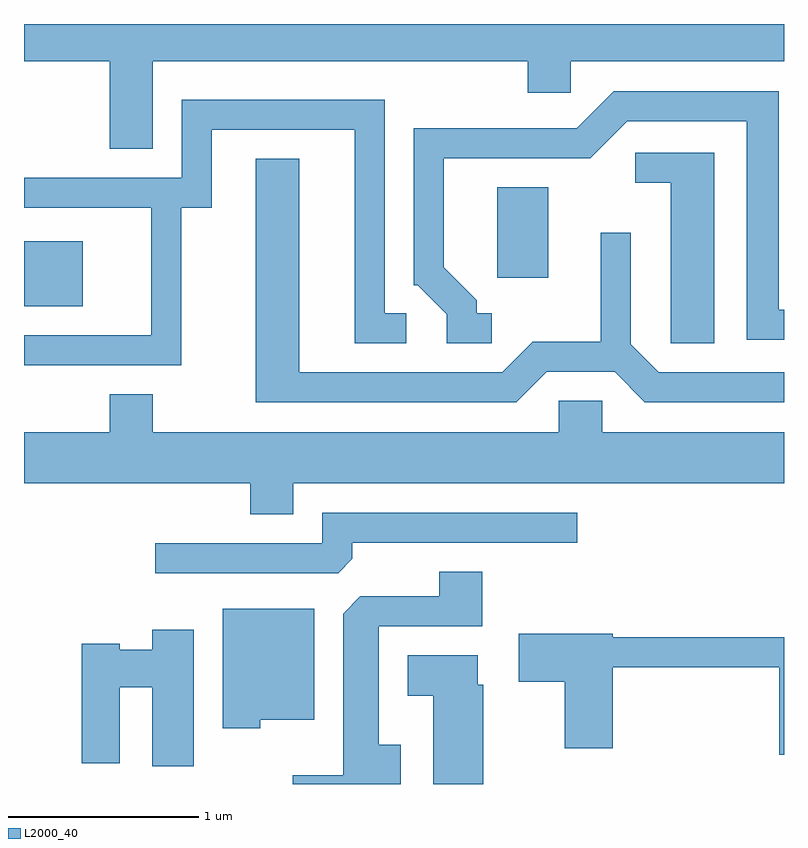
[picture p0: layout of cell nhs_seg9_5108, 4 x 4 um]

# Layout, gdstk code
import gdstk
lib = gdstk.Library(unit=1e-6, precision=1e-09)
def R(c, l, rs):  # rectangles x0, y0, x1, y1
    for r in rs: c.add(gdstk.rectangle(r[:2], r[2:], *l))
def P(c, l, *ps):  # polygons
    for p in ps: c.add(gdstk.Polygon(p, *l))
L2000_40 = (2000, 40)

nhs_seg9_5108 = lib.new_cell('nhs_seg9_5108')
R(nhs_seg9_5108, L2000_40, [(335.611,2014.946,335.919,2015.289), (338.101,2015.096,338.369,2015.574)])
P(nhs_seg9_5108, L2000_40, [(336.289,2016.236),(338.261,2016.236),(338.261,2016.071),(338.489,2016.071),(338.489,2016.236),(339.611,2016.236),(339.611,2016.432),(335.611,2016.432),(335.611,2016.236),(336.061,2016.236),(336.061,2015.776),(336.289,2015.776)],
  [(338.073,2014.909),(337.994,2014.909),(337.994,2014.977),(337.819,2015.152),(337.819,2015.726),(338.592,2015.726),(338.787,2015.921),(339.416,2015.921),(339.416,2014.771),(339.611,2014.771),(339.611,2014.929),(339.584,2014.929),(339.584,2016.079),(338.714,2016.079),(338.519,2015.884),(337.661,2015.884),(337.661,2015.056),(337.684,2015.056),(337.836,2014.904),(337.836,2014.751),(338.073,2014.751)],
  [(336.439,2015.466),(336.599,2015.466),(336.599,2015.876),(337.351,2015.876),(337.351,2014.751),(337.623,2014.751),(337.623,2014.909),(337.509,2014.909),(337.509,2016.034),(336.441,2016.034),(336.441,2015.624),(335.611,2015.624),(335.611,2015.466),(336.281,2015.466),(336.281,2014.794),(335.611,2014.794),(335.611,2014.636),(336.439,2014.636)],
  [(339.244,2015.754),(338.828,2015.754),(338.828,2015.596),(339.016,2015.596),(339.016,2014.751),(339.244,2014.751)],
  [(338.362,2014.601),(338.719,2014.601),(338.879,2014.441),(339.611,2014.441),(339.611,2014.599),(338.952,2014.599),(338.804,2014.747),(338.804,2015.333),(338.646,2015.333),(338.646,2014.759),(338.289,2014.759),(338.129,2014.599),(337.059,2014.599),(337.059,2015.724),(336.831,2015.724),(336.831,2014.441),(338.202,2014.441)],
  [(337.029,2014.016),(339.611,2014.016),(339.611,2014.284),(338.654,2014.284),(338.654,2014.449),(338.426,2014.449),(338.426,2014.284),(336.289,2014.284),(336.289,2014.484),(336.061,2014.484),(336.061,2014.284),(335.611,2014.284),(335.611,2014.016),(336.801,2014.016),(336.801,2013.851),(337.029,2013.851)],
  [(337.339,2013.617),(337.339,2013.701),(338.523,2013.701),(338.523,2013.859),(337.181,2013.859),(337.181,2013.699),(336.303,2013.699),(336.303,2013.541),(337.264,2013.541)],
  [(337.594,2012.639),(337.479,2012.639),(337.479,2013.261),(338.024,2013.261),(338.024,2013.549),(337.796,2013.549),(337.796,2013.419),(337.382,2013.419),(337.291,2013.329),(337.291,2012.479),(337.026,2012.479),(337.026,2012.432),(337.594,2012.432)],
  [(336.854,2012.771),(337.139,2012.771),(337.139,2013.354),(336.656,2013.354),(336.656,2012.726),(336.854,2012.726)],
  [(336.504,2013.244),(336.286,2013.244),(336.286,2013.139),(336.114,2013.139),(336.114,2013.169),(335.916,2013.169),(335.916,2012.541),(336.114,2012.541),(336.114,2012.941),(336.286,2012.941),(336.286,2012.526),(336.504,2012.526)],
  [(339.611,2013.204),(338.709,2013.204),(338.709,2013.224),(338.216,2013.224),(338.216,2012.971),(338.456,2012.971),(338.456,2012.621),(338.709,2012.621),(338.709,2013.046),(339.586,2013.046),(339.586,2012.586),(339.611,2012.586)],
  [(338.029,2012.954),(337.999,2012.954),(337.999,2013.109),(337.631,2013.109),(337.631,2012.896),(337.766,2012.896),(337.766,2012.432),(338.029,2012.432)])

lib.write_gds('nhs_seg9_5108.gds')
